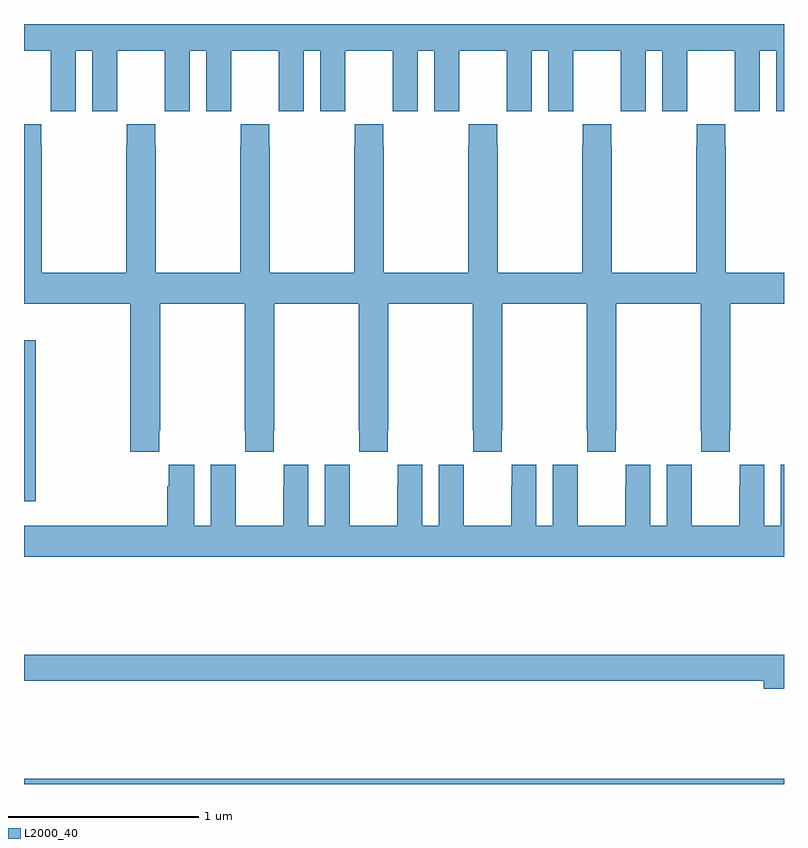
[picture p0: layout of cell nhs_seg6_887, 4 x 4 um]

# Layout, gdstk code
import gdstk
lib = gdstk.Library(unit=1e-6, precision=1e-09)
def R(c, l, rs):  # rectangles x0, y0, x1, y1
    for r in rs: c.add(gdstk.rectangle(r[:2], r[2:], *l))
def P(c, l, *ps):  # polygons
    for p in ps: c.add(gdstk.Polygon(p, *l))
L2000_40 = (2000, 40)

nhs_seg6_887 = lib.new_cell('nhs_seg6_887')
R(nhs_seg6_887, L2000_40, [(167,919.5,171,919.528), (167,920.988,167.063,921.835)])
P(nhs_seg6_887, L2000_40, [(167.272,923.36),(167.36,923.36),(167.36,923.04),(167.49,923.04),(167.49,923.152),(167.491,923.152),(167.491,923.36),(167.741,923.36),(167.741,923.152),(167.742,923.152),(167.742,923.04),(167.872,923.04),(167.872,923.36),(167.96,923.36),(167.96,923.04),(168.09,923.04),(168.09,923.152),(168.091,923.152),(168.091,923.36),(168.341,923.36),(168.341,923.152),(168.342,923.152),(168.342,923.04),(168.472,923.04),(168.472,923.36),(168.56,923.36),(168.56,923.04),(168.69,923.04),(168.69,923.152),(168.691,923.152),(168.691,923.36),(168.941,923.36),(168.941,923.152),(168.942,923.152),(168.942,923.04),(169.072,923.04),(169.072,923.36),(169.16,923.36),(169.16,923.04),(169.29,923.04),(169.29,923.152),(169.291,923.152),(169.291,923.36),(169.541,923.36),(169.541,923.152),(169.542,923.152),(169.542,923.04),(169.672,923.04),(169.672,923.36),(169.76,923.36),(169.76,923.04),(169.89,923.04),(169.89,923.152),(169.891,923.152),(169.891,923.36),(170.141,923.36),(170.141,923.152),(170.142,923.152),(170.142,923.04),(170.272,923.04),(170.272,923.36),(170.36,923.36),(170.36,923.04),(170.49,923.04),(170.49,923.152),(170.491,923.152),(170.491,923.36),(170.741,923.36),(170.741,923.152),(170.742,923.152),(170.742,923.04),(170.872,923.04),(170.872,923.36),(170.96,923.36),(170.96,923.04),(171,923.04),(171,923.5),(167,923.5),(167,923.36),(167.141,923.36),(167.141,923.152),(167.142,923.152),(167.142,923.04),(167.272,923.04)],
  [(167.711,921.361),(167.718,921.361),(167.718,922.028),(168.163,922.028),(168.163,921.361),(168.165,921.361),(168.165,921.249),(168.315,921.249),(168.315,921.361),(168.318,921.361),(168.318,922.028),(168.763,922.028),(168.763,921.361),(168.765,921.361),(168.765,921.249),(168.915,921.249),(168.915,921.361),(168.918,921.361),(168.918,922.028),(169.363,922.028),(169.363,921.361),(169.365,921.361),(169.365,921.249),(169.515,921.249),(169.515,921.361),(169.518,921.361),(169.518,922.028),(169.963,922.028),(169.963,921.361),(169.965,921.361),(169.965,921.249),(170.115,921.249),(170.115,921.361),(170.118,921.361),(170.118,922.028),(170.563,922.028),(170.563,921.361),(170.565,921.361),(170.565,921.249),(170.715,921.249),(170.715,921.361),(170.718,921.361),(170.718,922.028),(171,922.028),(171,922.192),(170.694,922.192),(170.694,922.859),(170.691,922.859),(170.691,922.972),(170.541,922.972),(170.541,922.859),(170.539,922.859),(170.539,922.192),(170.094,922.192),(170.094,922.859),(170.091,922.859),(170.091,922.972),(169.941,922.972),(169.941,922.859),(169.939,922.859),(169.939,922.192),(169.494,922.192),(169.494,922.859),(169.491,922.859),(169.491,922.972),(169.341,922.972),(169.341,922.859),(169.339,922.859),(169.339,922.192),(168.894,922.192),(168.894,922.859),(168.891,922.859),(168.891,922.972),(168.741,922.972),(168.741,922.859),(168.739,922.859),(168.739,922.192),(168.294,922.192),(168.294,922.859),(168.291,922.859),(168.291,922.972),(168.141,922.972),(168.141,922.859),(168.139,922.859),(168.139,922.192),(167.694,922.192),(167.694,922.859),(167.691,922.859),(167.691,922.972),(167.541,922.972),(167.541,922.859),(167.539,922.859),(167.539,922.192),(167.094,922.192),(167.094,922.859),(167.091,922.859),(167.091,922.972),(167,922.972),(167,922.028),(167.558,922.028),(167.558,921.249),(167.711,921.249)],
  [(171,921.181),(170.984,921.181),(170.984,920.86),(170.896,920.86),(170.896,921.181),(170.766,921.181),(170.766,921.068),(170.765,921.068),(170.765,920.86),(170.515,920.86),(170.515,921.068),(170.514,921.068),(170.514,921.181),(170.384,921.181),(170.384,920.86),(170.296,920.86),(170.296,921.181),(170.166,921.181),(170.166,921.068),(170.165,921.068),(170.165,920.86),(169.915,920.86),(169.915,921.068),(169.914,921.068),(169.914,921.181),(169.784,921.181),(169.784,920.86),(169.696,920.86),(169.696,921.181),(169.566,921.181),(169.566,921.068),(169.565,921.068),(169.565,920.86),(169.315,920.86),(169.315,921.068),(169.314,921.068),(169.314,921.181),(169.184,921.181),(169.184,920.86),(169.096,920.86),(169.096,921.181),(168.966,921.181),(168.966,921.068),(168.965,921.068),(168.965,920.86),(168.715,920.86),(168.715,921.068),(168.714,921.068),(168.714,921.181),(168.584,921.181),(168.584,920.86),(168.496,920.86),(168.496,921.181),(168.366,921.181),(168.366,921.068),(168.365,921.068),(168.365,920.86),(168.115,920.86),(168.115,921.068),(168.114,921.068),(168.114,921.181),(167.984,921.181),(167.984,920.86),(167.896,920.86),(167.896,921.181),(167.762,921.181),(167.762,921.068),(167.753,921.068),(167.753,920.86),(167,920.86),(167,920.696),(171,920.696)],
  [(171,920.18),(167,920.18),(167,920.044),(170.894,920.044),(170.894,920.002),(171,920.002)])

lib.write_gds('nhs_seg6_887.gds')
